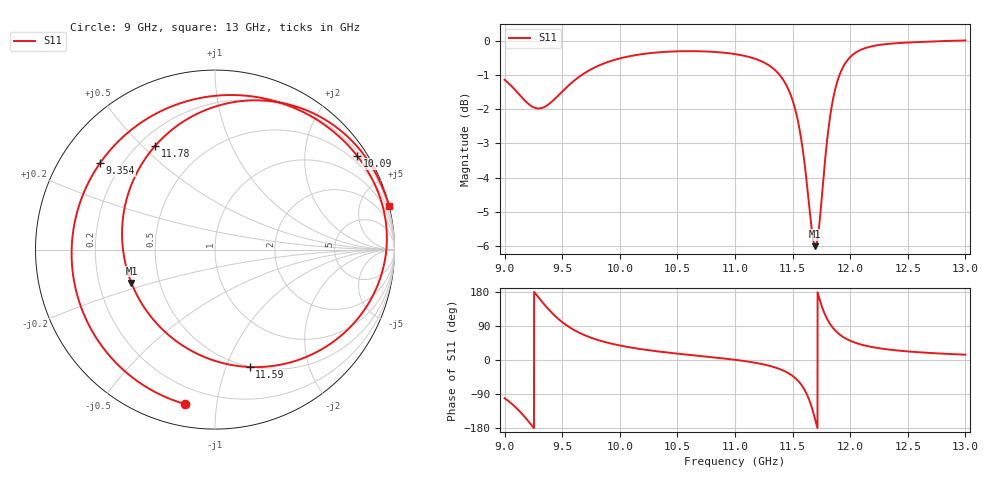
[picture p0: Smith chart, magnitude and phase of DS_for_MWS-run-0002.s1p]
! TOUCHSTONE file generated by CST DESIGN STUDIO
! Date and time: Tue Feb  4 18:02:54 2025
! Project name: C:\Work\MatlabApps\UnitCellOptimizationMatlab\CST\unitcell.cst
! Tree item: Tasks\Sweep1\SPara1\S-Parameters
! Header version: 2024
! Port assignment regex: !\s*Touchstone port\s*([0-9]+)\s*=\s*(CST MWS port|CST DES external port|CST DES block port)\s*(.+)\s* \(\"(.*)\"\)(\s*mode\s*([0-9]+))?.*
! Touchstone port assignment:
! Touchstone port 1 = CST DES external port 1 ("")
# GHz S MA R 50
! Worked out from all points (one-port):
!   4001 points, 9 GHz to 13 GHz, reference 50 ohm
!   lowest |S11| = -6.0 dB at 11.7 GHz (marker M1), VSWR 3.01, Z = 17.2 - j8.55 ohm
!   |S11| at or under -10 dB: nowhere
!   S11 on the Smith chart (normalised r, x): 9 GHz: 0.11, -0.82; 9.354 GHz: 0.12, +0.33; 10.09 GHz: 0.32, +3.31; 11.59 GHz: 0.50, -1.21; 11.78 GHz: 0.26, +0.55; 13 GHz: -0.01, +8.15
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9  0.8767 -100.8
9.105  0.8423 -127.6
9.209  0.8078 -162.6
9.279  0.7965 170.9
9.354  0.8015 143.1
9.425  0.8189 120.0
9.5  0.8426 99.9
9.609  0.8755 78.1
9.72  0.9019 62.3
10  0.9418 38.3
10.087  0.9489 33.4
10.5  0.9645 16.8
11  0.9555 0.5
11.327  0.9117 -17.7
11.425  0.873 -28.6
11.5  0.8179 -42.1
11.594  0.682 -73.5
11.647  0.5669 -107.6
11.697  0.5014 -158.2
11.736  0.5476 158.4
11.781  0.6668 120.1
11.818  0.7588 98.5
11.86  0.8354 81.1
11.925  0.9056 63.5
12  0.946 50.8
12.184  0.9806 34.5
12.5  0.9933 22.6
13  1 14.0
